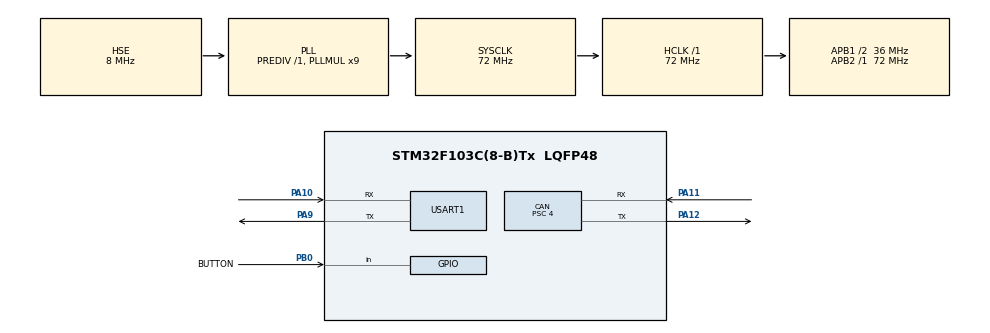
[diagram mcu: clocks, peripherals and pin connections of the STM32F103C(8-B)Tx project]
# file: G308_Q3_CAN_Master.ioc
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CAN.BS1=CAN_BS1_13TQ
CAN.BS2=CAN_BS2_4TQ
CAN.CalculateBaudRate=500000
CAN.CalculateTimeBit=2000
CAN.CalculateTimeQuantum=111.11111111111111
CAN.NART=ENABLE
CAN.Prescaler=4
Mcu.Family=STM32F1
Mcu.Name=STM32F103C(8-B)Tx
Mcu.Package=LQFP48
NVIC.PriorityGroup=NVIC_PRIORITYGROUP_4
NVIC.USB_LP_CAN1_RX0_IRQn=true\:0\:0\:false\:false\:true\:true\:true\:true
PA10.Mode=Asynchronous
PA10.Signal=USART1_RX
PA11.Mode=CAN_Activate
PA11.Signal=CAN_RX
PA12.Mode=CAN_Activate
PA12.Signal=CAN_TX
PA13.Mode=Serial_Wire
PA13.Signal=SYS_JTMS-SWDIO
PA14.Mode=Serial_Wire
PA14.Signal=SYS_JTCK-SWCLK
PA9.Mode=Asynchronous
PA9.Signal=USART1_TX
PB0.GPIO_Label=BUTTON
PB0.GPIO_PuPd=GPIO_PULLUP
PB0.Signal=GPIO_Input
PD0-OSC_IN.Mode=HSE-External-Oscillator
PD0-OSC_IN.Signal=RCC_OSC_IN
PD1-OSC_OUT.Mode=HSE-External-Oscillator
PD1-OSC_OUT.Signal=RCC_OSC_OUT
ProjectManager.HeapSize=0x200
ProjectManager.StackSize=0x400
ProjectManager.TargetToolchain=CMake
RCC.AHBFreq_Value=72000000
RCC.APB1CLKDivider=RCC_HCLK_DIV2
RCC.APB1Freq_Value=36000000
RCC.APB1TimFreq_Value=72000000
RCC.APB2Freq_Value=72000000
RCC.APB2TimFreq_Value=72000000
RCC.HCLKFreq_Value=72000000
RCC.PLLMUL=RCC_PLL_MUL9
RCC.PLLSourceVirtual=RCC_PLLSOURCE_HSE
RCC.SYSCLKFreq_VALUE=72000000
RCC.SYSCLKSource=RCC_SYSCLKSOURCE_PLLCLK
RCC.USBFreq_Value=72000000
USART1.VirtualMode=VM_ASYNC
board=custom

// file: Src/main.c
/* USER CODE BEGIN Header */
/**
  ******************************************************************************
  * @file           : main.c
  * @brief          : Main program body
  ******************************************************************************
  * @attention
  *
  * Copyright (c) 2026 STMicroelectronics.
  * All rights reserved.
  *
  * This software is licensed under terms that can be found in the LICENSE file
  * in the root directory of this software component.
  * If no LICENSE file comes with this software, it is provided AS-IS.
  *
  ******************************************************************************
  */
/* USER CODE END Header */
#include "main.h"
#include "can.h"
#include "usart.h"
#include "gpio.h"

void SystemClock_Config(void);

/* USER CODE BEGIN 0 */

static void UART_Print(const char *text)
{
  uint16_t length = 0;

  while (text[length] != '\0')
  {
    length++;
  }
  HAL_UART_Transmit(&huart1, (uint8_t *)text, length, HAL_MAX_DELAY);
}

/* USER CODE END 0 */

int main(void)
{

  /* MCU Configuration--------------------------------------------------------*/

  /* Reset of all peripherals, Initializes the Flash interface and the Systick. */
  HAL_Init();

  /* Configure the system clock */
  SystemClock_Config();

  /* Initialize all configured peripherals */
  MX_GPIO_Init();
  MX_CAN_Init();
  MX_USART1_UART_Init();
  /* USER CODE BEGIN 2 */

  if (CAN_App_Init() != HAL_OK)
  {
    Error_Handler();
  }
  UART_Print("CAN master ready\r\n");

  /* USER CODE END 2 */

  /* Infinite loop */
  /* USER CODE BEGIN WHILE */
  while (1)
  {
    uint8_t rx_data;

    if (HAL_GPIO_ReadPin(BUTTON_GPIO_Port, BUTTON_Pin) == GPIO_PIN_RESET)
    {
      /* 按键为低电平有效，延时20 ms消除机械抖动。 */
      HAL_Delay(20);
      if (HAL_GPIO_ReadPin(BUTTON_GPIO_Port, BUTTON_Pin) == GPIO_PIN_RESET)
      {
        if (CAN_SendByte(0x11U) == HAL_OK)
        {
          UART_Print("TX: 0x11\r\n");
        }
        while (HAL_GPIO_ReadPin(BUTTON_GPIO_Port, BUTTON_Pin) == GPIO_PIN_RESET)
        {
          /* 等待松手，保证一次按下只发送一次0x11。 */
          HAL_Delay(10);
        }
      }
    }

    if ((CAN_GetReceivedByte(&rx_data) != 0U) && (rx_data == 0x22U))
    {
      /* 收到从机应答后，通过USART1发送给CP2102。 */
      UART_Print("RX: 0x22\r\n");
    }
    /* USER CODE END WHILE */

  }
}

void SystemClock_Config(void)
{
  RCC_OscInitTypeDef RCC_OscInitStruct = {0};
  RCC_ClkInitTypeDef RCC_ClkInitStruct = {0};

  /** Initializes the RCC Oscillators according to the specified parameters
  * in the RCC_OscInitTypeDef structure.
  */
  RCC_OscInitStruct.OscillatorType = RCC_OSCILLATORTYPE_HSE;
  RCC_OscInitStruct.HSEState = RCC_HSE_ON;
  RCC_OscInitStruct.HSEPredivValue = RCC_HSE_PREDIV_DIV1;
  RCC_OscInitStruct.HSIState = RCC_HSI_ON;
  RCC_OscInitStruct.PLL.PLLState = RCC_PLL_ON;
  RCC_OscInitStruct.PLL.PLLSource = RCC_PLLSOURCE_HSE;
  RCC_OscInitStruct.PLL.PLLMUL = RCC_PLL_MUL9;
  if (HAL_RCC_OscConfig(&RCC_OscInitStruct) != HAL_OK)
  {
    Error_Handler();
  }

  /** Initializes the CPU, AHB and APB buses clocks
  */
  RCC_ClkInitStruct.ClockType = RCC_CLOCKTYPE_HCLK|RCC_CLOCKTYPE_SYSCLK
                              |RCC_CLOCKTYPE_PCLK1|RCC_CLOCKTYPE_PCLK2;
  RCC_ClkInitStruct.SYSCLKSource = RCC_SYSCLKSOURCE_PLLCLK;
  RCC_ClkInitStruct.AHBCLKDivider = RCC_SYSCLK_DIV1;
  RCC_ClkInitStruct.APB1CLKDivider = RCC_HCLK_DIV2;
  RCC_ClkInitStruct.APB2CLKDivider = RCC_HCLK_DIV1;

  if (HAL_RCC_ClockConfig(&RCC_ClkInitStruct, FLASH_LATENCY_2) != HAL_OK)
  {
    Error_Handler();
  }
}

void Error_Handler(void)
{
  __disable_irq();
  while (1)
  {
  }
}
